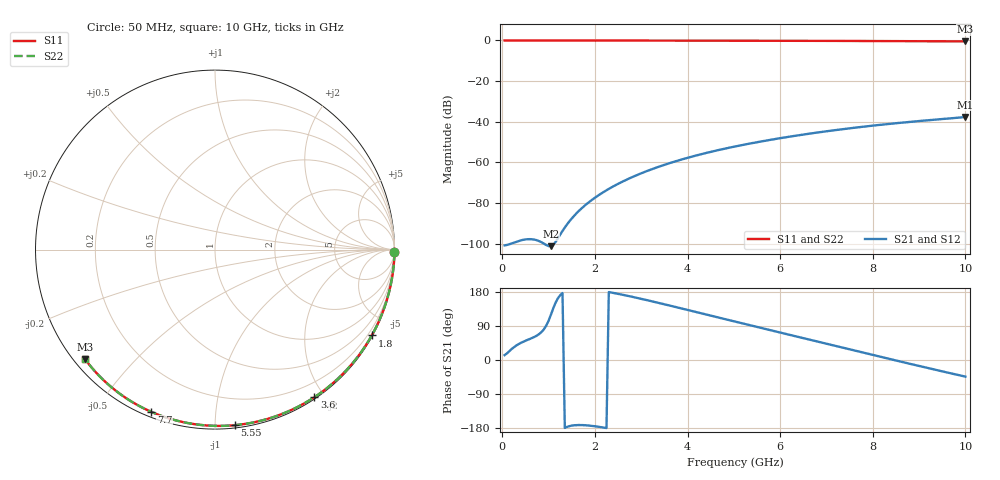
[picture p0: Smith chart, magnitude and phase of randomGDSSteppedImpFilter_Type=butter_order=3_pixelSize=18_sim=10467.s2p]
! freq	dB(S11)	phase(S11)	dB(S12)	phase(S12)
!  dB(S21)	phase(S21)	dB(S22)	phase(S22)
!S-par simulation data
#  GHz  S  DB  R 50
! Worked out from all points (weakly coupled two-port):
!   200 points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, 50 MHz to 10 GHz, reference 50 ohm
!   highest |S21| = -37.70 dB at 10 GHz (marker M1); lowest = -101.2 dB at 1.05 GHz (marker M2)
!   lowest |S11| = -0.5 dB at 10 GHz (marker M3), VSWR 36.90, Z = 1.54 - j18.3 ohm
!   |S11| at or under -10 dB: nowhere
!   |S22| runs from -0.5 to 0.0 dB; largest |S21 - S12| = 0
!   S11 on the Smith chart (normalised r, x): 50 MHz: open; 1.8 GHz: 0.03, -3.91; 3.6 GHz: 0.02, -1.88; 5.55 GHz: 0.02, -1.12; 7.7 GHz: 0.02, -0.68; 10 GHz: 0.03, -0.37
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0.05  -0.00 -0.8  -100.85 12.8  -100.85 12.8  -0.00 -0.8
0.55  -0.01 -8.9  -97.79 53.3  -97.79 53.3  -0.01 -8.9
1.05  -0.02 -16.9  -101.22 119.4  -101.22 119.4  -0.02 -16.9
1.75  -0.04 -27.9  -81.85 -171.9  -81.85 -171.9  -0.04 -27.9
1.8  -0.04 -28.7  -80.87 -172.3  -80.87 -172.3  -0.04 -28.7
1.85  -0.04 -29.5  -79.94 -172.7  -79.94 -172.7  -0.04 -29.5
2  -0.04 -31.8  -77.39 -174.8  -77.39 -174.8  -0.04 -31.8
2.15  -0.04 -34.1  -75.10 -177.5  -75.10 -177.5  -0.04 -34.2
2.35  -0.05 -37.2  -72.38 178.2  -72.38 178.2  -0.05 -37.2
2.55  -0.05 -40.3  -69.97 173.4  -69.97 173.4  -0.05 -40.3
2.95  -0.06 -46.4  -65.83 162.8  -65.83 162.8  -0.06 -46.4
3.4  -0.07 -53.1  -61.97 150.0  -61.97 150.0  -0.07 -53.1
3.6  -0.08 -56.0  -60.46 144.1  -60.46 144.1  -0.08 -56.1
4.3  -0.09 -66.2  -55.94 123.2  -55.94 123.2  -0.09 -66.2
5.05  -0.12 -76.7  -52.06 100.7  -52.06 100.7  -0.12 -76.8
5.55  -0.14 -83.5  -49.86 85.8  -49.86 85.8  -0.14 -83.6
6.1  -0.16 -90.9  -47.71 69.5  -47.71 69.5  -0.16 -91.0
6.7  -0.19 -98.8  -45.64 51.8  -45.64 51.8  -0.19 -98.8
7.7  -0.25 -111.5  -42.69 22.2  -42.69 22.2  -0.25 -111.6
8.35  -0.31 -119.6  -41.07 3.0  -41.07 3.0  -0.31 -119.7
9.2  -0.38 -130.0  -39.25 -21.5  -39.25 -21.5  -0.38 -130.1
10  -0.47 -139.8  -37.70 -43.9  -37.70 -43.9  -0.47 -139.9
